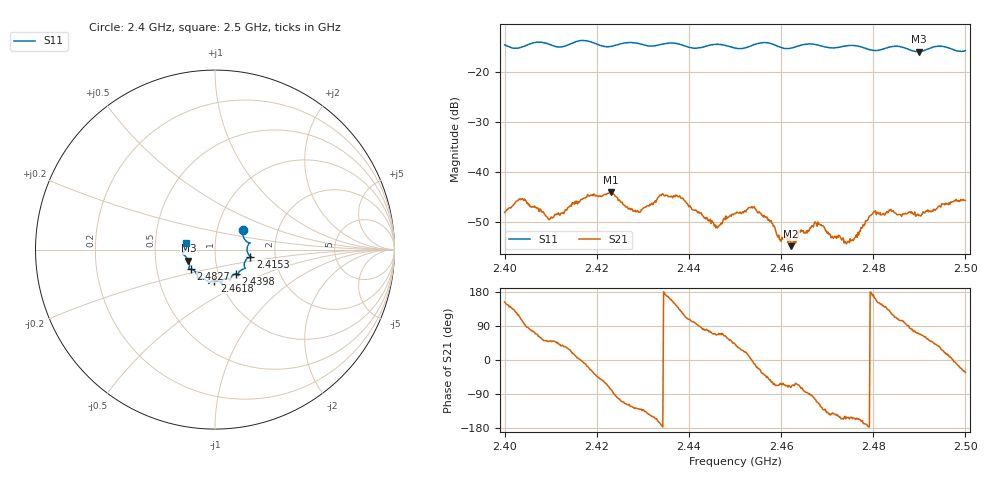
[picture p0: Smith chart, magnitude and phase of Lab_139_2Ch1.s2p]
# Hz S RI R 50
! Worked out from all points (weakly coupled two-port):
!   601 points, 2.4 GHz to 2.5 GHz, reference 50 ohm
!   highest |S21| = -43.92 dB at 2.423 GHz (marker M1); lowest = -54.7 dB at 2.4622 GHz (marker M2)
!   lowest |S11| = -15.9 dB at 2.4898 GHz (marker M3), VSWR 1.38, Z = 36.8 - j4.61 ohm
!   |S11| at or under -10 dB: start of sweep to end of sweep
!   S12 and S22 are empty: the file has one direction only
!   S11 on the Smith chart (normalised r, x): 2.4 GHz: 1.33, +0.29; 2.4153 GHz: 1.48, -0.12; 2.4398 GHz: 1.21, -0.34; 2.4618 GHz: 0.94, -0.33; 2.4827 GHz: 0.75, -0.17; 2.5 GHz: 0.72, +0.06
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2.4e9  0.1547 0.1066  -0.00354 0.0018  0 0  0 0
2.403833e9  0.1721 0.0489  -0.00123 0.00534  0 0  0 0
2.41e9  0.1857 0.0271  0.00224 0.00272  0 0  0 0
2.415333e9  0.1967 -0.0389  0.00504 0.00102  0 0  0 0
2.416667e9  0.2027 -0.043  0.00539 -0.00019  0 0  0 0
2.423e9  0.1635 -0.0768  0.00135 -0.00622  0 0  0 0
2.429e9  0.162 -0.1065  -0.0025 -0.00315  0 0  0 0
2.433333e9  0.1297 -0.134  -0.00533 -0.00176  0 0  0 0
2.437667e9  0.1299 -0.1415  -0.00428 0.00376  0 0  0 0
2.439833e9  0.1151 -0.1361  -0.00143 0.00449  0 0  0 0
2.446e9  0.0841 -0.1706  0.00119 0.00266  0 0  0 0
2.45e9  0.065 -0.1618  0.00289 0.00259  0 0  0 0
2.454167e9  0.0355 -0.1851  0.00448 -0.000819  0 0  0 0
2.461833e9  -0.00307 -0.1728  0.000795 -0.00205  0 0  0 0
2.462167e9  -0.0077 -0.1737  0.000561 -0.00175  0 0  0 0
2.466667e9  -0.0346 -0.1882  -0.000192 -0.00292  0 0  0 0
2.474333e9  -0.0905 -0.1602  -0.00178 -0.000923  0 0  0 0
2.48e9  -0.1099 -0.123  -0.00392 0.000512  0 0  0 0
2.482667e9  -0.135 -0.1088  -0.00304 0.00248  0 0  0 0
2.483333e9  -0.1402 -0.1085  -0.00273 0.003  0 0  0 0
2.489833e9  -0.1482 -0.061  0.00125 0.00349  0 0  0 0
2.5e9  -0.1595 0.039  0.00439 -0.00287  0 0  0 0
